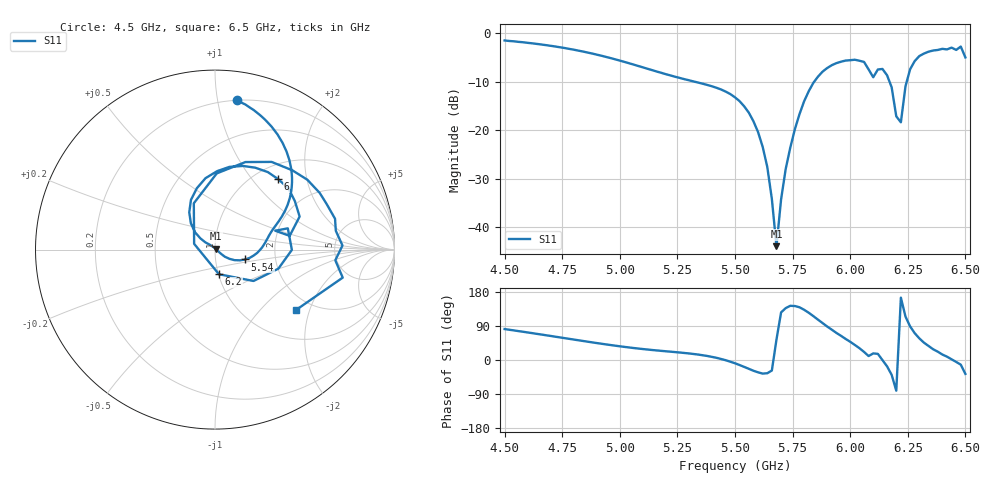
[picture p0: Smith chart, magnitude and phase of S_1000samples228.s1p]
! TOUCHSTONE file generated by CST MICROWAVE STUDIO
! Date and time: Thu Oct 27 11:00:15 2022
! Project name: L.cst
! Parameters = {Di=1.27; Epsilon_r=1.56; InnerDiameter=1.27; Length=2; Lf=10; Lg=60; OuterConductorThickness=0.2921; OuterDiameter=3.6; Wf=3; Wp=41.2; de=1.5; df=6.8; g=0.8; gx=1.96263; gy=3.54464; h=2.34; hf=1.524; px=13.4542; py=12.6736; w=9.7; wx=11.4916; wy=9.12895}
! Header version: 2018
! Port assignment regex: !\s*Touchstone port\s*([0-9]+)\s*=\s*(CST MWS port|CST DS port)\s*([0-9]+|Zmin|Zmax)\s*\(\"(.*)\"\)(\s*mode\s*([0-9]+))?.*
! Touchstone port assignment:
! Touchstone port 1 = CST MWS port 1 ("")
# GHz S DB R 50
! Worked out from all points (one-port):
!   101 points, 4.5 GHz to 6.5 GHz, reference 50 ohm
!   lowest |S11| = -43.9 dB at 5.68 GHz (marker M1), VSWR 1.01, Z = 50.4 + j0.518 ohm
!   |S11| at or under -10 dB: 5.325 GHz to 5.844 GHz (518.9 MHz wide, 9.29 % of centre); 6.171 GHz to 6.245 GHz (74.65 MHz wide, 1.2 % of centre)
!   S11 on the Smith chart (normalised r, x): 4.5 GHz: 0.20, +1.14; 5.54 GHz: 1.39, -0.16; 6 GHz: 1.26, +1.37; 6.2 GHz: 1.01, -0.28; 6.5 GHz: 1.65, -1.63
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4.5  -1.49 81.6
4.76  -3.04 57.7
5  -5.64 36.2
5.26  -9.22 19.8
5.5  -13.23 -8.7
5.54  -15.09 -18.2
5.62  -23.42 -35.9
5.66  -34.20 -27.8
5.68  -43.93 54.0
5.7  -34.29 125.5
5.72  -28.02 136.9
5.76  -19.78 142.4
5.8  -14.03 132.6
5.86  -8.96 106.5
5.92  -6.59 80.1
6  -5.56 48.1
6.06  -5.91 21.3
6.1  -9.08 17.4
6.14  -7.37 -0.2
6.18  -11.16 -39.2
6.2  -17.15 -80.9
6.22  -18.37 164.6
6.24  -10.94 114.6
6.26  -7.44 88.7
6.32  -4.20 45.8
6.4  -3.22 14.4
6.48  -2.75 -12.4
6.5  -4.99 -36.7
